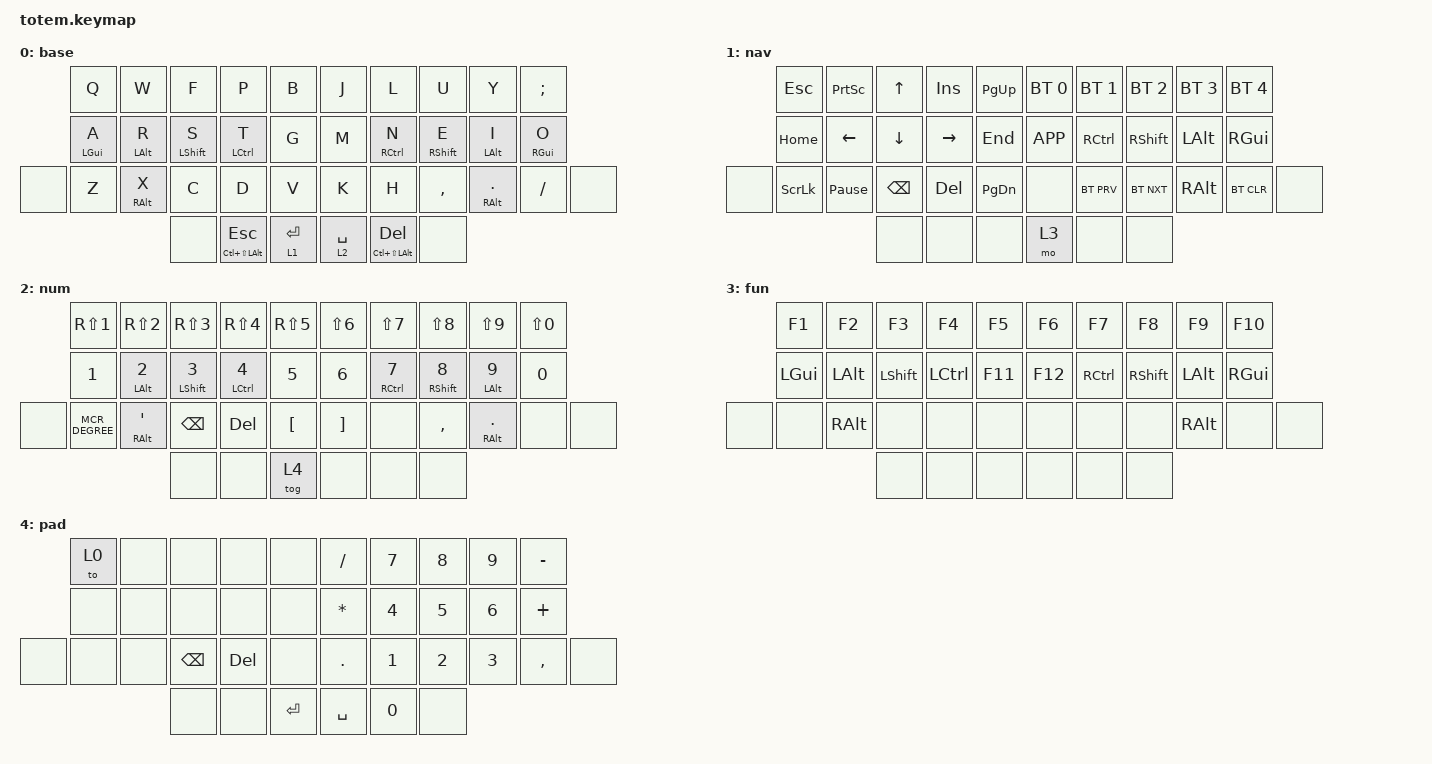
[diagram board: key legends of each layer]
//
//                                                        ▀▀▀▀▀     ▀▀▀▀▀          ▀▀█▀▀
//                                                        ▄▀▀▀▄  ▄  ▄▀▀▀▄  ▄  ▄▀▀▀▄  █  ▄▀▀▀▄
//                                                        █   █  █  █   █  █  █   █  █  █   █
//                                                         ▀▀▀   █   ▀▀▀   █   ▀▀▀   ▀   ▀▀▀
//                                                               █      ▄▄▄█▄▄▄    █   █  
//                                                               ▀      █  █  █     █▄█
//                                                             ▀▀▀▀▀    █  █  █      ▀
//                                                                      ▀  ▀  ▀
//
// ▄▄▄▄▄▄▄▄▄▄▄▄▄▄▄▄▄▄▄▄▄▄▄▄▄▄▄▄▄▄▄▄▄▄▄▄▄▄▄▄▄▄▄▄▄▄▄▄▄▄▄▄▄▄▄▄▄▄▄▄▄▄▄▄▄▄▄▄▄▄▄▄▄▄▄▄▄▄▄▄▄▄▄▄▄▄▄▄▄▄▄▄▄▄▄▄▄▄▄▄▄▄▄▄▄▄▄▄▄▄▄▄▄▄▄▄▄▄▄▄▄▄▄▄▄▄▄▄▄▄▄▄▄▄▄▄▄▄▄▄▄▄▄▄▄▄▄▄▄


#include <behaviors.dtsi>
#include <dt-bindings/zmk/keys.h>
#include <dt-bindings/zmk/bt.h>
#include <dt-bindings/zmk/outputs.h>

&caps_word {
    continue-list = <UNDERSCORE MINUS BSPC DEL>;
};

/ {
    behaviors {
        hmlc: homerow_mod_lctrl {
            compatible = "zmk,behavior-hold-tap";
            label = "HOMEROW_MODS";
            #binding-cells = <2>;
            tapping-term-ms = <120>;
            quick-tap-ms = <0>;
            flavor = "balanced";
            hold-trigger-key-positions = <5 6 7 8 9 15 16 17 18 19 26 27 28 29 30 31>;
            hold-while-undecided;
            bindings = <&kp>, <&kp>;
        };
        hmrc: homerow_mod_rctrl {
            compatible = "zmk,behavior-hold-tap";
            label = "HOMEROW_MODS";
            #binding-cells = <2>;
            tapping-term-ms = <120>;
            quick-tap-ms = <0>;
            flavor = "balanced";
            hold-trigger-key-positions = <0 1 2 3 4 10 11 12 13 14 20 21 22 23 24 25>;
            hold-while-undecided;
            bindings = <&kp>, <&kp>;
        };
        hmls: homerow_mod_lshift {
            compatible = "zmk,behavior-hold-tap";
            label = "HOMEROW_MODS";
            #binding-cells = <2>;
            tapping-term-ms = <150>;
            quick-tap-ms = <0>;
            flavor = "balanced";
            hold-trigger-key-positions = <5 6 7 8 9 15 16 17 18 19 26 27 28 29 30 31>;
            bindings = <&kp>, <&kp>;
        };
        hmrs: homerow_mod_rshift {
            compatible = "zmk,behavior-hold-tap";
            label = "HOMEROW_MODS";
            #binding-cells = <2>;
            tapping-term-ms = <180>;
            quick-tap-ms = <0>;
            flavor = "balanced";
            hold-trigger-key-positions = <0 1 2 3 4 10 11 12 13 14 20 21 22 23 24 25>;
            bindings = <&kp>, <&kp>;
        };
        hmg: homerow_mod_gui {
            compatible = "zmk,behavior-hold-tap";
            label = "HOMEROW_MODS";
            #binding-cells = <2>;
            tapping-term-ms = <500>;
            quick-tap-ms = <0>;
            flavor = "balanced";
            bindings = <&kp>, <&kp>;
        };
        hmla: homerow_mod_lalt {
            compatible = "zmk,behavior-hold-tap";
            label = "HOMEROW_MODS";
            #binding-cells = <2>;
            tapping-term-ms = <400>;
            quick-tap-ms = <0>;
            flavor = "balanced";
            bindings = <&kp>, <&kp>;
        };
        hmra: homerow_mod_ralt {
            compatible = "zmk,behavior-hold-tap";
            label = "HOMEROW_MODS";
            #binding-cells = <2>;
            tapping-term-ms = <800>;
            quick-tap-ms = <0>;
            flavor = "tap-preferred";
            bindings = <&kp>, <&kp>;
        };
    };
};

/ {
    macros {
        MCR_DQT: MCR_DQT {
            compatible = "zmk,behavior-macro";
            #binding-cells = <0>;
            bindings
                = <&macro_press &kp LSHFT>
                , <&macro_tap &kp SQT>
                , <&macro_release &kp LSHFT>
                , <&macro_tap &kp SPACE>
                ;
        };

        MCR_SCH: MCR_SCH {
            compatible = "zmk,behavior-macro";
            #binding-cells = <0>;
            bindings
                = <&macro_tap &kp S>
                , <&macro_release &kp LSHIFT>
                , <&macro_release &kp RSHIFT>
                , <&macro_tap &kp C &kp H>
                ;
        };

        MCR_SQT: MCR_SQT {
            compatible = "zmk,behavior-macro";
            #binding-cells = <0>;
            bindings
                = <&macro_tap &kp SQT>
                , <&macro_tap &kp SPACE>
                ;
        };

        MCR_TILDE: MCR_TILDE {
            compatible = "zmk,behavior-macro";
            #binding-cells = <0>;
            bindings
                = <&macro_press &kp RSHFT>
                , <&macro_tap &kp GRAVE>
                , <&macro_release &kp RSHFT>
                , <&macro_tap &kp SPACE>
                ;
        };

        MCR_DEGREE: MCR_DEGREE {
            compatible = "zmk,behavior-macro";
            #binding-cells = <0>;
            bindings
                = <&macro_press &kp RALT>
                , <&macro_press &kp LSHFT>
                , <&macro_tap &kp SEMI>
                , <&macro_release &kp RALT>
                , <&macro_release &kp LSHFT>
                ;
        };
    };
};

/ {
    combos {
        compatible = "zmk,combos";

        Cmb_UmlA {
            bindings = <&kp RA(Q)>;
            key-positions = <0 10>;
            layers = <0>;
        };

        Cmb_UmlO {
            bindings = <&kp RA(P)>;
            key-positions = <9 19>;
            layers = <0>;
        };

        Cmb_UmlU {
            bindings = <&kp RA(Y)>;
            key-positions = <7 17>;
            layers = <0>;
        };

        Cmb_UmlS {
            bindings = <&kp RA(S)>;
            key-positions = <2 12>;
            layers = <0>;
        };

        Cmb_EUR {
            bindings = <&kp RA(N5)>;
            key-positions = <17 28>;
            layers = <0>;
        };

        Cmb_ESC {
            bindings = <&kp ESC>;
            key-positions = <0 1>;
            layers = <0 1 2 3 4>;
        };

        Cmb_TAB {
            bindings = <&kp TAB>;
            key-positions = <23 24>;
            layers = <0 1 2 4>;
        };

        Cmb_CLCKs {
            bindings = <&kp CLCK>;
            key-positions = <10 11 12 13>;
            layers = <1>;
        };

        Cmb_CapsWord {
            bindings = <&caps_word>;
            key-positions = <12 17>;
            layers = <0>;
        };

        Cmb_BSPC {
            bindings = <&kp BSPC>;
            key-positions = <27 28>;
            layers = <0 2 4>;
        };

        Cmb_DEL {
            bindings = <&kp DEL>;
            key-positions = <28 29>;
            layers = <0 2 4>;
        };

        Cmb_CtrlBSPC {
            bindings = <&kp LC(BSPC)>;
            key-positions = <27 28 29>;
            layers = <0 2>;
        };

        Cmb_CtrlDEL {
            bindings = <&kp LC(DEL)>;
            key-positions = <28 29 30>;
            layers = <0 2>;
        };

        Cmb_WordLeft {
            bindings = <&kp LC(LEFT)>;
            key-positions = <11 12>;
            layers = <1>;
        };

        Cmb_WordRight {
            bindings = <&kp LC(RIGHT)>;
            key-positions = <12 13>;
            layers = <1>;
        };

        Cmb_Cut {
            bindings = <&kp LC(X)>;
            key-positions = <21 22>;
            layers = <0>;
        };

        Cmb_Copy {
            bindings = <&kp LC(C)>;
            key-positions = <22 23>;
            layers = <0>;
        };

        Cmb_Paste {
            bindings = <&kp LC(V)>;
            key-positions = <21 22 23>;
            layers = <0>;
        };

        Cmb_Reset {
            bindings = <&bootloader>;
            key-positions = <11 12 13>;
            layers = <4>;
        };

        Cmb_UNDO {
            bindings = <&kp RC(Z)>;
            key-positions = <2 3>;
            layers = <0>;
        };

        Cmb_REDO {
            bindings = <&kp LC(Y)>;
            key-positions = <6 7>;
            layers = <0>;
        };

        Cmb_ALL {
            bindings = <&kp RC(A)>;
            key-positions = <10 11>;
            layers = <0>;
        };

        Cmb_LPAR {
            bindings = <&kp LPAR>;
            key-positions = <4 14>;
            layers = <0>;
        };

        Cmb_RPAR {
            bindings = <&kp RPAR>;
            key-positions = <5 15>;
            layers = <0>;
        };

        Cmb_LBKT {
            bindings = <&kp LBKT>;
            key-positions = <14 25>;
            layers = <0>;
        };

        Cmb_RBKT {
            bindings = <&kp RBKT>;
            key-positions = <15 26>;
            layers = <0>;
        };

        Cmb_BSLH {
            bindings = <&kp BSLH>;
            key-positions = <19 30>;
            layers = <0>;
        };

        Cmb_MINUS {
            bindings = <&kp MINUS>;
            key-positions = <3 13>;
            layers = <0>;
        };

        Cmb_EQUAL {
            bindings = <&kp EQUAL>;
            key-positions = <6 16>;
            layers = <0>;
        };

        Cmb_UNDER {
            bindings = <&kp LS(MINUS)>;
            key-positions = <13 24>;
            layers = <0>;
        };

        Cmb_PLUS {
            bindings = <&kp LS(EQUAL)>;
            key-positions = <16 27>;
            layers = <0>;
        };

        Cmb_COLON {
            bindings = <&kp LS(SEMI)>;
            key-positions = <8 18>;
            layers = <0>;
        };

        Cmb_PIPE {
            bindings = <&kp LS(BSLH)>;
            key-positions = <18 29>;
            layers = <0>;
        };

        Cmb_MCR_SCH {
            bindings = <&MCR_SCH>;
            key-positions = <12 23>;
            layers = <0>;
        };

        Cmb_MCR_DQT {
            bindings = <&MCR_DQT>;
            key-positions = <1 11>;
            layers = <0>;
        };

        Cmb_MCR_TILDE {
            bindings = <&MCR_TILDE>;
            key-positions = <11 22>;
            layers = <0 2>;
        };

        Cmb_MCR_SQT {
            bindings = <&MCR_SQT>;
            key-positions = <10 21>;
            layers = <0 2>;
        };
    };

    keymap {
        compatible = "zmk,keymap";

        base {
            label = "base";
            bindings = <
                   &kp Q        &kp W         &kp F          &kp P                 &kp B        &kp J        &kp L                 &kp U          &kp Y           &kp SEMI
                   &hmg LGUI A  &hmla LALT R  &hmls LSHFT S  &hmlc LCTRL T         &kp G        &kp M        &hmrc RCTRL N         &hmrs RSHFT E  &hmla LALT I    &hmg RGUI O
            &none  &kp Z        &hmra RALT X  &kp C          &kp D                 &kp V        &kp K        &kp H                 &kp COMMA      &hmra RALT DOT  &kp FSLH     &none
                                              &none          &mt LC(LS(LALT)) ESC  &lt 1 RET    &lt 2 SPACE  &mt LC(LS(LALT)) DEL  &none
            >;
        };

        nav {
            label = "nav";
            bindings = <
                   &kp ESC   &kp PSCRN        &kp UP    &kp INS    &kp PG_UP    &bt BT_SEL 0  &bt BT_SEL 1  &bt BT_SEL 2  &bt BT_SEL 3  &bt BT_SEL 4
                   &kp HOME  &kp LEFT         &kp DOWN  &kp RIGHT  &kp END      &kp K_APP     &kp RCTRL     &kp RSHFT     &kp LALT      &kp RGUI
            &none  &kp SLCK  &kp PAUSE_BREAK  &kp BSPC  &kp DEL    &kp PG_DN    &none         &bt BT_PRV    &bt BT_NXT    &kp RALT      &bt BT_CLR    &none
                                              &none     &none       &none       &mo 3         &none         &none
            >;
        };

        num {
            label = "num";
            bindings = <
                   &kp RS(N1)   &kp RS(N2)      &kp RS(N3)      &kp RS(N4)      &kp RS(N5)    &kp LS(N6)  &kp LS(N7)      &kp LS(N8)      &kp LS(N9)      &kp LS(N0)
                   &kp N1       &hmla LALT N2   &hmls LSHFT N3  &hmlc LCTRL N4  &kp N5        &kp N6      &hmrc RCTRL N7  &hmrs RSHFT N8  &hmla LALT N9   &kp N0
            &none  &MCR_DEGREE  &hmra RALT SQT  &kp BSPC        &kp DEL         &kp LBKT      &kp RBKT    &none           &kp COMMA       &hmra RALT DOT  &none       &none
                                                &none           &none           &tog 4        &none       &none           &none
            >;
        };

        fun {
            label = "fun";
            bindings = <
                   &kp F1    &kp F2    &kp F3     &kp F4     &kp F5     &kp F6   &kp F7     &kp F8     &kp F9    &kp F10
                   &kp LGUI  &kp LALT  &kp LSHFT  &kp LCTRL  &kp F11    &kp F12  &kp RCTRL  &kp RSHFT  &kp LALT  &kp RGUI
            &none  &none     &kp RALT  &none      &none      &none      &none    &none      &none      &kp RALT  &none     &none
                                       &none      &none      &none      &none    &none      &none
            >;
        };

        pad {
            label = "pad";
            bindings = <
		           &to 0  &none  &none     &none    &none      &kp FSLH   &kp N7  &kp N8  &kp N9  &kp MINUS
                   &none  &none  &none     &none    &none      &kp STAR   &kp N4  &kp N5  &kp N6  &kp PLUS
            &none  &none  &none  &kp BSPC  &kp DEL  &none      &kp DOT    &kp N1  &kp N2  &kp N3  &kp COMMA  &none
                                 &none     &none    &kp RET    &kp SPACE  &kp N0  &none 
            >;
        };
    };
};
